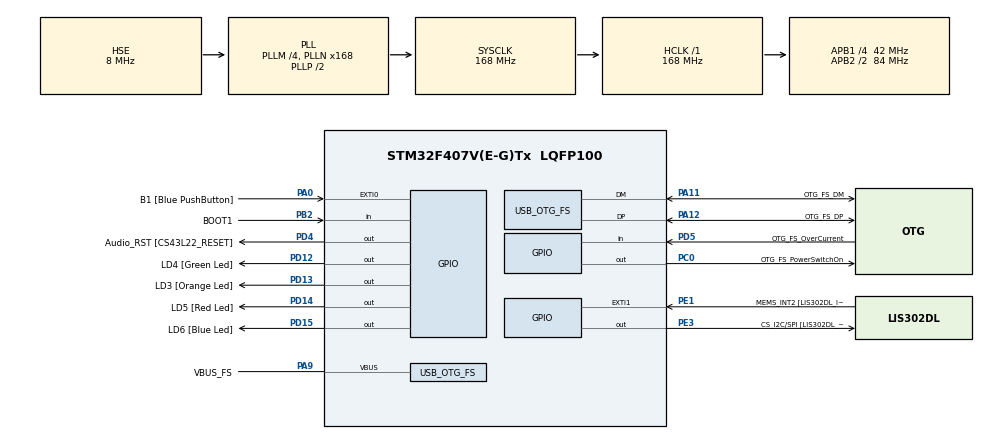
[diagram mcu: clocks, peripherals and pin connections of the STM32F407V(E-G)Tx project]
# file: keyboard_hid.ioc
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Mcu.Family=STM32F4
Mcu.Name=STM32F407V(E-G)Tx
Mcu.Package=LQFP100
NVIC.OTG_FS_IRQn=true\:0\:0\:false\:false\:true\:false\:true\:true
NVIC.PriorityGroup=NVIC_PRIORITYGROUP_0
PA0-WKUP.GPIO_Label=B1 [Blue PushButton]
PA0-WKUP.Signal=GPXTI0
PA10.GPIO_Label=OTG_FS_ID
PA10.GPIO_Mode=GPIO_MODE_AF_PP
PA10.GPIO_PuPd=GPIO_NOPULL
PA10.GPIO_Speed=GPIO_SPEED_FREQ_LOW
PA10.Signal=USB_OTG_FS_ID
PA11.GPIO_Label=OTG_FS_DM
PA11.GPIO_Mode=GPIO_MODE_AF_PP
PA11.GPIO_PuPd=GPIO_NOPULL
PA11.GPIO_Speed=GPIO_SPEED_FREQ_LOW
PA11.Mode=Device_Only
PA11.Signal=USB_OTG_FS_DM
PA12.GPIO_Label=OTG_FS_DP
PA12.GPIO_Mode=GPIO_MODE_AF_PP
PA12.GPIO_PuPd=GPIO_NOPULL
PA12.GPIO_Speed=GPIO_SPEED_FREQ_LOW
PA12.Mode=Device_Only
PA12.Signal=USB_OTG_FS_DP
PA13.GPIO_Label=SWDIO
PA13.Mode=Serial_Wire
PA13.Signal=SYS_JTMS-SWDIO
PA14.GPIO_Label=SWCLK
PA14.Mode=Serial_Wire
PA14.Signal=SYS_JTCK-SWCLK
PA4.GPIO_Label=I2S3_WS [CS43L22_LRCK]
PA4.GPIO_Mode=GPIO_MODE_AF_PP
PA4.GPIO_PuPd=GPIO_NOPULL
PA4.GPIO_Speed=GPIO_SPEED_FREQ_LOW
PA4.Signal=I2S3_WS
PA5.GPIO_Label=SPI1_SCK [LIS302DL_SCL/SPC]
PA5.GPIO_Mode=GPIO_MODE_AF_PP
PA5.GPIO_PuPd=GPIO_NOPULL
PA5.GPIO_Speed=GPIO_SPEED_FREQ_LOW
PA5.Signal=SPI1_SCK
PA6.GPIO_Label=SPI1_MISO [LIS302DL_SDO]
PA6.GPIO_Mode=GPIO_MODE_AF_PP
PA6.GPIO_PuPd=GPIO_NOPULL
PA6.GPIO_Speed=GPIO_SPEED_FREQ_LOW
PA6.Signal=SPI1_MISO
PA7.GPIO_Label=SPI1_MOSI [LIS302DL_SDA/SDI/SDO]
PA7.GPIO_Mode=GPIO_MODE_AF_PP
PA7.GPIO_PuPd=GPIO_NOPULL
PA7.GPIO_Speed=GPIO_SPEED_FREQ_LOW
PA7.Signal=SPI1_MOSI
PA9.GPIO_Label=VBUS_FS
PA9.GPIO_Mode=GPIO_MODE_INPUT
PA9.GPIO_PuPd=GPIO_NOPULL
PA9.Mode=Activate_VBUS
PA9.Signal=USB_OTG_FS_VBUS
PB10.GPIO_Label=CLK_IN [MP45DT02_CLK]
PB10.GPIO_Mode=GPIO_MODE_AF_PP
PB10.GPIO_PuPd=GPIO_NOPULL
PB10.GPIO_Speed=GPIO_SPEED_FREQ_LOW
PB10.Signal=I2S2_CK
PB2.GPIO_Label=BOOT1
PB2.GPIO_Mode=GPIO_MODE_INPUT
PB2.GPIO_PuPd=GPIO_NOPULL
PB2.Signal=GPIO_Input
PB3.GPIO_Label=SWO
PB3.Signal=SYS_JTDO-SWO
PB6.GPIO_Label=Audio_SCL [CS43L22_SCL]
PB6.GPIO_Mode=GPIO_MODE_AF_OD
PB6.GPIO_PuPd=GPIO_NOPULL
PB6.GPIO_Speed=GPIO_SPEED_FREQ_LOW
PB6.Signal=I2C1_SCL
PB9.GPIO_Label=Audio_SDA [CS43L22_SDA]
PB9.GPIO_Mode=GPIO_MODE_AF_OD
PB9.GPIO_PuPd=GPIO_NOPULL
PB9.GPIO_Speed=GPIO_SPEED_FREQ_LOW
PB9.Signal=I2C1_SDA
PC0.GPIO_Label=OTG_FS_PowerSwitchOn
PC0.GPIO_PuPd=GPIO_NOPULL
PC0.GPIO_Speed=GPIO_SPEED_FREQ_LOW
PC0.PinState=GPIO_PIN_SET
PC0.Signal=GPIO_Output
PC10.GPIO_Label=I2S3_SCK [CS43L22_SCLK]
PC10.GPIO_Mode=GPIO_MODE_AF_PP
PC10.GPIO_PuPd=GPIO_NOPULL
PC10.GPIO_Speed=GPIO_SPEED_FREQ_LOW
PC10.Signal=I2S3_CK
PC12.GPIO_Label=I2S3_SD [CS43L22_SDIN]
PC12.GPIO_Mode=GPIO_MODE_AF_PP
PC12.GPIO_PuPd=GPIO_NOPULL
PC12.GPIO_Speed=GPIO_SPEED_FREQ_LOW
PC12.Signal=I2S3_SD
PC14-OSC32_IN.GPIO_Label=PC14-OSC32_IN
PC14-OSC32_IN.Signal=RCC_OSC32_IN
PC15-OSC32_OUT.GPIO_Label=PC15-OSC32_OUT
PC15-OSC32_OUT.Signal=RCC_OSC32_OUT
PC3.GPIO_Label=PDM_OUT [MP45DT02_DOUT]
PC3.GPIO_Mode=GPIO_MODE_AF_PP
PC3.GPIO_PuPd=GPIO_NOPULL
PC3.GPIO_Speed=GPIO_SPEED_FREQ_LOW
PC3.Signal=I2S2_SD
PC7.GPIO_Label=I2S3_MCK [CS43L22_MCLK]
PC7.GPIO_Mode=GPIO_MODE_AF_PP
PC7.GPIO_PuPd=GPIO_NOPULL
PC7.GPIO_Speed=GPIO_SPEED_FREQ_LOW
PC7.Signal=I2S3_MCK
PD12.GPIO_Label=LD4 [Green Led]
PD12.GPIO_PuPd=GPIO_NOPULL
PD12.GPIO_Speed=GPIO_SPEED_FREQ_LOW
PD12.Signal=GPIO_Output
PD13.GPIO_Label=LD3 [Orange Led]
PD13.GPIO_PuPd=GPIO_NOPULL
PD13.GPIO_Speed=GPIO_SPEED_FREQ_LOW
PD13.Signal=GPIO_Output
PD14.GPIO_Label=LD5 [Red Led]
PD14.GPIO_PuPd=GPIO_NOPULL
PD14.GPIO_Speed=GPIO_SPEED_FREQ_LOW
PD14.Signal=GPIO_Output
PD15.GPIO_Label=LD6 [Blue Led]
PD15.GPIO_PuPd=GPIO_NOPULL
PD15.GPIO_Speed=GPIO_SPEED_FREQ_LOW
PD15.Signal=GPIO_Output
PD4.GPIO_Label=Audio_RST [CS43L22_RESET]
PD4.GPIO_PuPd=GPIO_NOPULL
PD4.GPIO_Speed=GPIO_SPEED_FREQ_LOW
PD4.Signal=GPIO_Output
PD5.GPIO_Label=OTG_FS_OverCurrent
PD5.GPIO_Mode=GPIO_MODE_INPUT
PD5.GPIO_PuPd=GPIO_NOPULL
PD5.Signal=GPIO_Input
PE1.GPIO_Label=MEMS_INT2 [LIS302DL_INT2]
PE1.GPIO_ModeDefaultEXTI=GPIO_MODE_EVT_RISING
PE1.GPIO_PuPd=GPIO_NOPULL
PE1.Signal=GPXTI1
PE3.GPIO_Label=CS_I2C/SPI [LIS302DL_CS_I2C/SPI]
PE3.GPIO_PuPd=GPIO_NOPULL
PE3.GPIO_Speed=GPIO_SPEED_FREQ_LOW
PE3.Signal=GPIO_Output
PH0-OSC_IN.GPIO_Label=PH0-OSC_IN
PH0-OSC_IN.Mode=HSE-External-Clock-Source
PH0-OSC_IN.Signal=RCC_OSC_IN
PH1-OSC_OUT.GPIO_Label=PH1-OSC_OUT
PH1-OSC_OUT.Mode=HSE-External-Clock-Source
PH1-OSC_OUT.Signal=RCC_OSC_OUT
ProjectManager.HeapSize=0x200
ProjectManager.StackSize=0x400
ProjectManager.TargetToolchain=STM32CubeIDE
RCC.48MHZClocksFreq_Value=48000000
RCC.AHBFreq_Value=168000000
RCC.APB1CLKDivider=RCC_HCLK_DIV4
RCC.APB1Freq_Value=42000000
RCC.APB1TimFreq_Value=84000000
RCC.APB2CLKDivider=RCC_HCLK_DIV2
RCC.APB2Freq_Value=84000000
RCC.APB2TimFreq_Value=168000000
RCC.CortexFreq_Value=168000000
RCC.HCLKFreq_Value=168000000
RCC.HSE_VALUE=8000000
RCC.HSI_VALUE=16000000
RCC.LSE_VALUE=32768
RCC.PLLM=4
RCC.PLLN=168
RCC.PLLQ=7
RCC.SYSCLKFreq_VALUE=168000000
RCC.SYSCLKSource=RCC_SYSCLKSOURCE_PLLCLK
RCC.VCOOutputFreq_Value=336000000
USB_DEVICE.CLASS_NAME_FS=HID
USB_DEVICE.PRODUCT_STRING_HID_FS=STM32 Keyboard
USB_DEVICE.VirtualMode-HID_FS=Hid
USB_DEVICE.VirtualModeFS=Hid_FS
USB_OTG_FS.VirtualMode=Device_Only
VP_USB_DEVICE_VS_USB_DEVICE_HID_FS.Mode=HID_FS
board=STM32F407G-DISC1

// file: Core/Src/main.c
/* USER CODE BEGIN Header */
/**
  ******************************************************************************
  * @file           : main.c
  * @brief          : Main program body
  ******************************************************************************
  * @attention
  *
  * Copyright (c) 2024 STMicroelectronics.
  * All rights reserved.
  *
  * This software is licensed under terms that can be found in the LICENSE file
  * in the root directory of this software component.
  * If no LICENSE file comes with this software, it is provided AS-IS.
  *
  ******************************************************************************
  */
/* USER CODE END Header */
#include "main.h"
#include "usb_device.h"

/* USER CODE BEGIN Includes */
#include "usbd_hid.h"
/* USER CODE END Includes */

void SystemClock_Config(void);
static void MX_GPIO_Init(void);

/* USER CODE BEGIN 0 */
extern USBD_HandleTypeDef hUsbDeviceFS;

typedef struct
{
	uint8_t MODIFIER;
	uint8_t RESERVED;
	uint8_t KEYCODE1;
	uint8_t KEYCODE2;
	uint8_t KEYCODE3;
	uint8_t KEYCODE4;
	uint8_t KEYCODE5;
	uint8_t KEYCODE6;
}subKeyBoard;

subKeyBoard keyBoardHIDsub = {0,0,0,0,0,0,0,0};

/* USER CODE END 0 */

int main(void)
{

  /* MCU Configuration--------------------------------------------------------*/

  /* Reset of all peripherals, Initializes the Flash interface and the Systick. */
  HAL_Init();

  /* Configure the system clock */
  SystemClock_Config();

  /* Initialize all configured peripherals */
  MX_GPIO_Init();
  MX_USB_DEVICE_Init();

  /* Infinite loop */
  while (1)
  {

    /* USER CODE BEGIN 3 */
	  keyBoardHIDsub.MODIFIER=0x02;  // To press shift key
	  keyBoardHIDsub.KEYCODE1=0x04;  // Press A key
	  keyBoardHIDsub.KEYCODE2=0x05;  // Press B key

	  USBD_HID_SendReport(&hUsbDeviceFS,&keyBoardHIDsub,sizeof(keyBoardHIDsub));
	  HAL_Delay(50); 		         // Press all key for 50 milliseconds
	  keyBoardHIDsub.MODIFIER=0x00;  // To release shift key
	  keyBoardHIDsub.KEYCODE1=0x00;  // Release A key
	  keyBoardHIDsub.KEYCODE2=0x00;  // Release B key

	  USBD_HID_SendReport(&hUsbDeviceFS,&keyBoardHIDsub,sizeof(keyBoardHIDsub));
	  HAL_Delay(1000); 	       // Repeat this task on every 1 second
  }
  /* USER CODE END 3 */
}

void SystemClock_Config(void)
{
  RCC_OscInitTypeDef RCC_OscInitStruct = {0};
  RCC_ClkInitTypeDef RCC_ClkInitStruct = {0};

  /** Configure the main internal regulator output voltage
  */
  __HAL_RCC_PWR_CLK_ENABLE();
  __HAL_PWR_VOLTAGESCALING_CONFIG(PWR_REGULATOR_VOLTAGE_SCALE1);

  /** Initializes the RCC Oscillators according to the specified parameters
  * in the RCC_OscInitTypeDef structure.
  */
  RCC_OscInitStruct.OscillatorType = RCC_OSCILLATORTYPE_HSE;
  RCC_OscInitStruct.HSEState = RCC_HSE_BYPASS;
  RCC_OscInitStruct.PLL.PLLState = RCC_PLL_ON;
  RCC_OscInitStruct.PLL.PLLSource = RCC_PLLSOURCE_HSE;
  RCC_OscInitStruct.PLL.PLLM = 4;
  RCC_OscInitStruct.PLL.PLLN = 168;
  RCC_OscInitStruct.PLL.PLLP = RCC_PLLP_DIV2;
  RCC_OscInitStruct.PLL.PLLQ = 7;
  if (HAL_RCC_OscConfig(&RCC_OscInitStruct) != HAL_OK)
  {
    Error_Handler();
  }

  /** Initializes the CPU, AHB and APB buses clocks
  */
  RCC_ClkInitStruct.ClockType = RCC_CLOCKTYPE_HCLK|RCC_CLOCKTYPE_SYSCLK
                              |RCC_CLOCKTYPE_PCLK1|RCC_CLOCKTYPE_PCLK2;
  RCC_ClkInitStruct.SYSCLKSource = RCC_SYSCLKSOURCE_PLLCLK;
  RCC_ClkInitStruct.AHBCLKDivider = RCC_SYSCLK_DIV1;
  RCC_ClkInitStruct.APB1CLKDivider = RCC_HCLK_DIV4;
  RCC_ClkInitStruct.APB2CLKDivider = RCC_HCLK_DIV2;

  if (HAL_RCC_ClockConfig(&RCC_ClkInitStruct, FLASH_LATENCY_5) != HAL_OK)
  {
    Error_Handler();
  }
}

static void MX_GPIO_Init(void)
{
  GPIO_InitTypeDef GPIO_InitStruct = {0};

  /* GPIO Ports Clock Enable */
  __HAL_RCC_GPIOE_CLK_ENABLE();
  __HAL_RCC_GPIOC_CLK_ENABLE();
  __HAL_RCC_GPIOH_CLK_ENABLE();
  __HAL_RCC_GPIOA_CLK_ENABLE();
  __HAL_RCC_GPIOB_CLK_ENABLE();
  __HAL_RCC_GPIOD_CLK_ENABLE();

  /*Configure GPIO pin Output Level */
  HAL_GPIO_WritePin(CS_I2C_SPI_GPIO_Port, CS_I2C_SPI_Pin, GPIO_PIN_RESET);

  /*Configure GPIO pin Output Level */
  HAL_GPIO_WritePin(OTG_FS_PowerSwitchOn_GPIO_Port, OTG_FS_PowerSwitchOn_Pin, GPIO_PIN_SET);

  /*Configure GPIO pin Output Level */
  HAL_GPIO_WritePin(GPIOD, LD4_Pin|LD3_Pin|LD5_Pin|LD6_Pin
                          |Audio_RST_Pin, GPIO_PIN_RESET);

  /*Configure GPIO pin : CS_I2C_SPI_Pin */
  GPIO_InitStruct.Pin = CS_I2C_SPI_Pin;
  GPIO_InitStruct.Mode = GPIO_MODE_OUTPUT_PP;
  GPIO_InitStruct.Pull = GPIO_NOPULL;
  GPIO_InitStruct.Speed = GPIO_SPEED_FREQ_LOW;
  HAL_GPIO_Init(CS_I2C_SPI_GPIO_Port, &GPIO_InitStruct);

  /*Configure GPIO pin : OTG_FS_PowerSwitchOn_Pin */
  GPIO_InitStruct.Pin = OTG_FS_PowerSwitchOn_Pin;
  GPIO_InitStruct.Mode = GPIO_MODE_OUTPUT_PP;
  GPIO_InitStruct.Pull = GPIO_NOPULL;
  GPIO_InitStruct.Speed = GPIO_SPEED_FREQ_LOW;
  HAL_GPIO_Init(OTG_FS_PowerSwitchOn_GPIO_Port, &GPIO_InitStruct);

  /*Configure GPIO pin : PDM_OUT_Pin */
  GPIO_InitStruct.Pin = PDM_OUT_Pin;
  GPIO_InitStruct.Mode = GPIO_MODE_AF_PP;
  GPIO_InitStruct.Pull = GPIO_NOPULL;
  GPIO_InitStruct.Speed = GPIO_SPEED_FREQ_LOW;
  GPIO_InitStruct.Alternate = GPIO_AF5_SPI2;
  HAL_GPIO_Init(PDM_OUT_GPIO_Port, &GPIO_InitStruct);

  /*Configure GPIO pin : B1_Pin */
  GPIO_InitStruct.Pin = B1_Pin;
  GPIO_InitStruct.Mode = GPIO_MODE_IT_RISING;
  GPIO_InitStruct.Pull = GPIO_NOPULL;
  HAL_GPIO_Init(B1_GPIO_Port, &GPIO_InitStruct);

  /*Configure GPIO pin : I2S3_WS_Pin */
  GPIO_InitStruct.Pin = I2S3_WS_Pin;
  GPIO_InitStruct.Mode = GPIO_MODE_AF_PP;
  GPIO_InitStruct.Pull = GPIO_NOPULL;
  GPIO_InitStruct.Speed = GPIO_SPEED_FREQ_LOW;
  GPIO_InitStruct.Alternate = GPIO_AF6_SPI3;
  HAL_GPIO_Init(I2S3_WS_GPIO_Port, &GPIO_InitStruct);

  /*Configure GPIO pins : SPI1_SCK_Pin SPI1_MISO_Pin SPI1_MOSI_Pin */
  GPIO_InitStruct.Pin = SPI1_SCK_Pin|SPI1_MISO_Pin|SPI1_MOSI_Pin;
  GPIO_InitStruct.Mode = GPIO_MODE_AF_PP;
  GPIO_InitStruct.Pull = GPIO_NOPULL;
  GPIO_InitStruct.Speed = GPIO_SPEED_FREQ_LOW;
  GPIO_InitStruct.Alternate = GPIO_AF5_SPI1;
  HAL_GPIO_Init(GPIOA, &GPIO_InitStruct);

  /*Configure GPIO pin : BOOT1_Pin */
  GPIO_InitStruct.Pin = BOOT1_Pin;
  GPIO_InitStruct.Mode = GPIO_MODE_INPUT;
  GPIO_InitStruct.Pull = GPIO_NOPULL;
  HAL_GPIO_Init(BOOT1_GPIO_Port, &GPIO_InitStruct);

  /*Configure GPIO pin : CLK_IN_Pin */
  GPIO_InitStruct.Pin = CLK_IN_Pin;
  GPIO_InitStruct.Mode = GPIO_MODE_AF_PP;
  GPIO_InitStruct.Pull = GPIO_NOPULL;
  GPIO_InitStruct.Speed = GPIO_SPEED_FREQ_LOW;
  GPIO_InitStruct.Alternate = GPIO_AF5_SPI2;
  HAL_GPIO_Init(CLK_IN_GPIO_Port, &GPIO_InitStruct);

  /*Configure GPIO pins : LD4_Pin LD3_Pin LD5_Pin LD6_Pin
                           Audio_RST_Pin */
  GPIO_InitStruct.Pin = LD4_Pin|LD3_Pin|LD5_Pin|LD6_Pin
                          |Audio_RST_Pin;
  GPIO_InitStruct.Mode = GPIO_MODE_OUTPUT_PP;
  GPIO_InitStruct.Pull = GPIO_NOPULL;
  GPIO_InitStruct.Speed = GPIO_SPEED_FREQ_LOW;
  HAL_GPIO_Init(GPIOD, &GPIO_InitStruct);

  /*Configure GPIO pins : I2S3_MCK_Pin I2S3_SCK_Pin I2S3_SD_Pin */
  GPIO_InitStruct.Pin = I2S3_MCK_Pin|I2S3_SCK_Pin|I2S3_SD_Pin;
  GPIO_InitStruct.Mode = GPIO_MODE_AF_PP;
  GPIO_InitStruct.Pull = GPIO_NOPULL;
  GPIO_InitStruct.Speed = GPIO_SPEED_FREQ_LOW;
  GPIO_InitStruct.Alternate = GPIO_AF6_SPI3;
  HAL_GPIO_Init(GPIOC, &GPIO_InitStruct);

  /*Configure GPIO pin : OTG_FS_OverCurrent_Pin */
  GPIO_InitStruct.Pin = OTG_FS_OverCurrent_Pin;
  GPIO_InitStruct.Mode = GPIO_MODE_INPUT;
  GPIO_InitStruct.Pull = GPIO_NOPULL;
  HAL_GPIO_Init(OTG_FS_OverCurrent_GPIO_Port, &GPIO_InitStruct);

  /*Configure GPIO pins : Audio_SCL_Pin Audio_SDA_Pin */
  GPIO_InitStruct.Pin = Audio_SCL_Pin|Audio_SDA_Pin;
  GPIO_InitStruct.Mode = GPIO_MODE_AF_OD;
  GPIO_InitStruct.Pull = GPIO_NOPULL;
  GPIO_InitStruct.Speed = GPIO_SPEED_FREQ_LOW;
  GPIO_InitStruct.Alternate = GPIO_AF4_I2C1;
  HAL_GPIO_Init(GPIOB, &GPIO_InitStruct);

  /*Configure GPIO pin : MEMS_INT2_Pin */
  GPIO_InitStruct.Pin = MEMS_INT2_Pin;
  GPIO_InitStruct.Mode = GPIO_MODE_EVT_RISING;
  GPIO_InitStruct.Pull = GPIO_NOPULL;
  HAL_GPIO_Init(MEMS_INT2_GPIO_Port, &GPIO_InitStruct);

}

void Error_Handler(void)
{
  __disable_irq();
  while (1)
  {
  }
}
